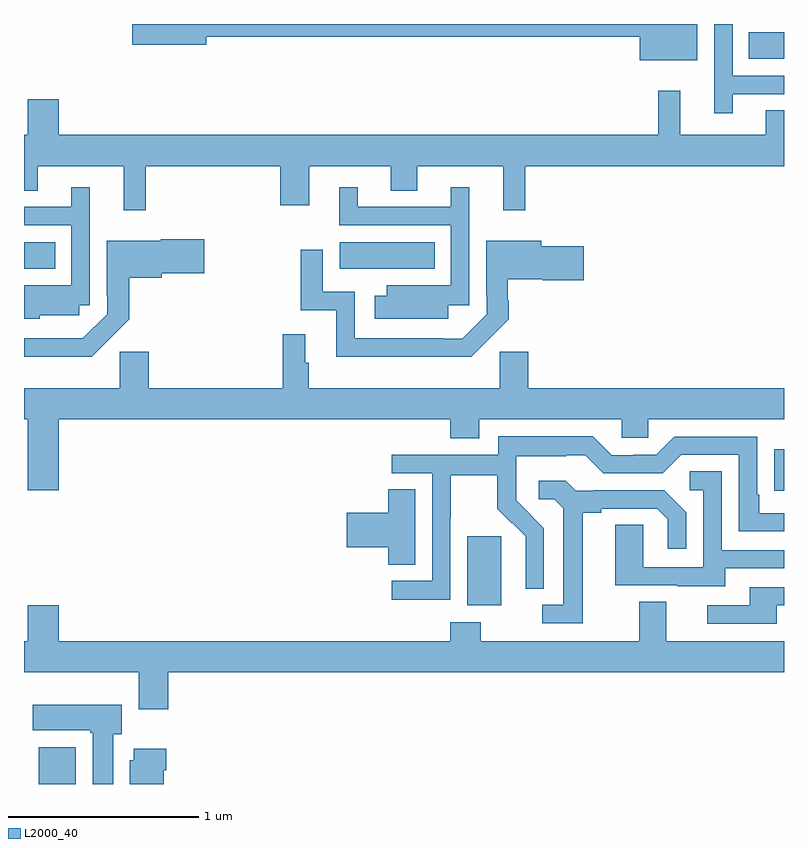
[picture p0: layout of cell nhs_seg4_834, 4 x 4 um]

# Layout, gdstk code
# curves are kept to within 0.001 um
import gdstk
lib = gdstk.Library(unit=1e-6, precision=1e-09)
def R(c, l, rs):  # rectangles x0, y0, x1, y1
    for r in rs: c.add(gdstk.rectangle(r[:2], r[2:], *l))
def P(c, l, *ps):  # polygons
    for p in ps: c.add(gdstk.Polygon(p, *l))
L2000_40 = (2000, 40)

nhs_seg4_834 = lib.new_cell('nhs_seg4_834')
R(nhs_seg4_834, L2000_40, [(153.077,794.9,153.273,795.094), (155.333,795.842,155.512,796.203), (156.949,796.444,157,796.663), (153,797.612,153.164,797.752), (154.662,797.612,155.162,797.752), (156.814,798.716,157,798.856)])
P(nhs_seg4_834, L2000_40, [(156.73,798.531),(157,798.531),(157,798.627),(156.729,798.627),(156.729,798.9),(156.633,798.9),(156.633,798.429),(156.73,798.429)],
  [(156.544,798.9),(153.57,798.9),(153.57,798.79),(153.958,798.79),(153.958,798.832),(156.242,798.832),(156.242,798.71),(156.544,798.71)],
  [(153.641,798.152),(154.349,798.152),(154.349,797.946),(154.501,797.946),(154.501,798.152),(154.931,798.152),(154.931,798.022),(155.071,798.022),(155.071,798.152),(155.522,798.152),(155.522,797.919),(155.639,797.919),(155.639,798.152),(157,798.152),(157,798.446),(156.905,798.446),(156.905,798.316),(156.455,798.316),(156.455,798.55),(156.337,798.55),(156.337,798.316),(153.184,798.316),(153.184,798.505),(153.02,798.505),(153.02,798.316),(153,798.316),(153,798.022),(153.073,798.022),(153.073,798.152),(153.524,798.152),(153.524,797.919),(153.641,797.919)],
  [(153.084,797.366),(153.291,797.366),(153.291,797.421),(153.345,797.421),(153.345,798.04),(153.248,798.04),(153.248,797.937),(153,797.937),(153,797.841),(153.249,797.841),(153.249,797.524),(153,797.524),(153,797.348),(153.084,797.348)],
  [(155.233,797.421),(155.343,797.421),(155.343,798.04),(155.246,798.04),(155.246,797.937),(154.756,797.937),(154.756,798.04),(154.658,798.04),(154.658,797.841),(155.247,797.841),(155.247,797.524),(154.91,797.524),(154.91,797.47),(154.845,797.47),(154.845,797.348),(155.233,797.348)],
  [(153.554,797.345),(153.554,797.564),(153.724,797.564),(153.724,797.588),(153.949,797.588),(153.949,797.766),(153.72,797.766),(153.72,797.758),(153.435,797.758),(153.435,797.473),(153.438,797.473),(153.438,797.373),(153.31,797.245),(153.209,797.245),(153.209,797.247),(153,797.247),(153,797.15),(153.157,797.15),(153.157,797.148),(153.356,797.148)],
  [(155.552,797.345),(155.552,797.447),(155.545,797.447),(155.545,797.557),(155.73,797.557),(155.73,797.552),(155.947,797.552),(155.947,797.73),(155.722,797.73),(155.722,797.758),(155.433,797.758),(155.433,797.473),(155.436,797.473),(155.436,797.373),(155.307,797.244),(155.207,797.244),(155.207,797.247),(154.74,797.247),(154.74,797.49),(154.572,797.49),(154.572,797.713),(154.456,797.713),(154.456,797.394),(154.643,797.394),(154.643,797.15),(155.155,797.15),(155.155,797.148),(155.354,797.148)],
  [(153.184,796.82),(155.243,796.82),(155.243,796.721),(155.395,796.721),(155.395,796.82),(156.147,796.82),(156.147,796.722),(156.285,796.722),(156.285,796.82),(157,796.82),(157,796.984),(155.654,796.984),(155.654,797.175),(155.503,797.175),(155.503,796.984),(154.499,796.984),(154.499,797.117),(154.48,797.117),(154.48,797.266),(154.363,797.266),(154.363,796.984),(153.656,796.984),(153.656,797.175),(153.505,797.175),(153.505,796.984),(153,796.984),(153,796.82),(153.02,796.82),(153.02,796.446),(153.184,796.446)],
  [(155.244,796.3),(155.247,796.3),(155.247,796.524),(155.491,796.524),(155.491,796.349),(155.568,796.272),(155.571,796.275),(155.642,796.205),(155.642,796.082),(155.64,796.082),(155.64,795.928),(155.736,795.928),(155.736,796.246),(155.59,796.394),(155.59,796.491),(155.592,796.491),(155.592,796.625),(155.855,796.625),(155.855,796.629),(155.955,796.629),(156.048,796.536),(156.363,796.536),(156.459,796.632),(156.762,796.632),(156.762,796.23),(157,796.23),(157,796.326),(156.871,796.326),(156.871,796.423),(156.858,796.423),(156.858,796.728),(156.423,796.728),(156.327,796.632),(156.209,796.632),(156.209,796.629),(156.093,796.629),(155.993,796.729),(155.496,796.729),(155.496,796.632),(154.935,796.632),(154.935,796.536),(155.148,796.536),(155.148,795.969),(154.935,795.969),(154.935,795.871),(155.244,795.871)],
  [(156.691,796.035),(157,796.035),(157,796.131),(156.672,796.131),(156.672,796.547),(156.504,796.547),(156.504,796.446),(156.576,796.446),(156.576,796.041),(156.258,796.041),(156.258,796.265),(156.113,796.265),(156.113,795.945),(156.437,795.945),(156.437,795.941),(156.691,795.941)],
  [(155.941,796.328),(156.037,796.328),(156.037,796.35),(156.332,796.35),(156.389,796.293),(156.389,796.137),(156.486,796.137),(156.486,796.33),(156.37,796.446),(155.998,796.446),(155.998,796.443),(155.904,796.443),(155.852,796.495),(155.709,796.495),(155.709,796.398),(155.79,796.398),(155.837,796.351),(155.837,795.843),(155.727,795.843),(155.727,795.747),(155.941,795.747)],
  [(155.059,796.451),(154.916,796.451),(154.916,796.328),(154.698,796.328),(154.698,796.145),(154.916,796.145),(154.916,796.054),(155.059,796.054)],
  [(156.961,795.84),(157,795.84),(157,795.936),(156.821,795.936),(156.821,795.84),(156.597,795.84),(156.597,795.744),(156.961,795.744)],
  [(153.758,795.488),(157,795.488),(157,795.652),(156.379,795.652),(156.379,795.86),(156.239,795.86),(156.239,795.652),(155.403,795.652),(155.403,795.751),(155.243,795.751),(155.243,795.652),(153.184,795.652),(153.184,795.841),(153.02,795.841),(153.02,795.652),(153,795.652),(153,795.488),(153.605,795.488),(153.605,795.294),(153.758,795.294)],
  [(153.469,795.162),(153.514,795.162),(153.514,795.316),(153.045,795.316),(153.045,795.182),(153.349,795.182),(153.349,795.169),(153.362,795.169),(153.362,794.9),(153.469,794.9)],
  [(153.736,794.972),(153.749,794.972),(153.749,795.085),(153.578,795.085),(153.578,795.024),(153.557,795.024),(153.557,794.9),(153.736,794.9)])

lib.write_gds('nhs_seg4_834.gds')
